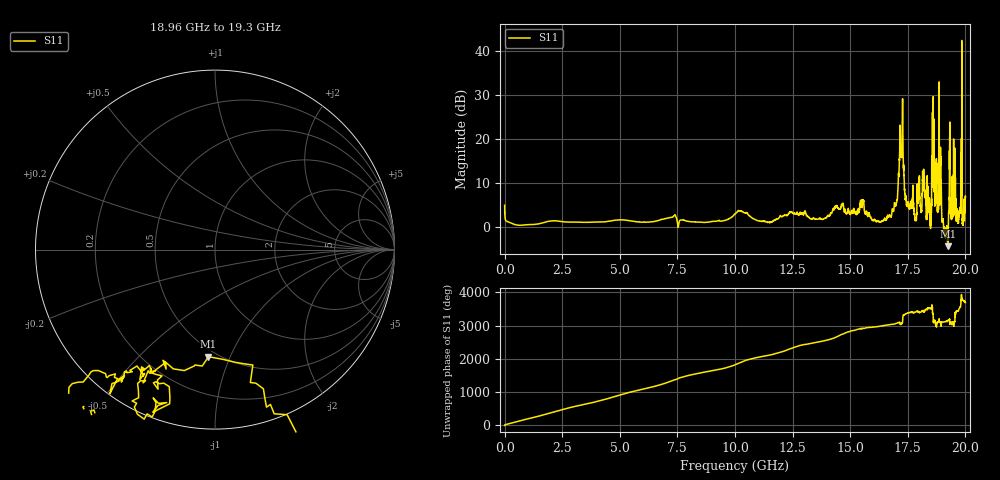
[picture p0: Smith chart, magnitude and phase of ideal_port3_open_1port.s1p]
! Created with skrf 1.8.0 (http://scikit-rf.org).
# GHz S RI R 50.0
!freq ReS11 ImS11
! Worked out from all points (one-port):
!   10001 points, 1 MHz to 20 GHz, reference 50 ohm
!   lowest |S11| = -4.5 dB at 19.24 GHz (marker M1), VSWR 3.97, Z = 22.5 - j41.7 ohm
!   |S11| at or under -10 dB: nowhere
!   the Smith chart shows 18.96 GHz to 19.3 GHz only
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0.001  1.704 -0.384
0.8969552  -1.023 0.2131
1.940903  1.147 -0.1024
2.500875  -0.3083 1.096
4.104795  1.123 0.1081
5.00075  -1.184 -0.1465
5.900705  1.093 -0.2576
6.556672  -0.1234 1.147
7.500625  0.6761 -0.897
8.134593  0.1803 1.116
8.918554  -1.12 -0.1565
10.0005  1.348 0.3628
10.52647  -1.375 0.4135
11.82841  1.205 0.1434
12.50038  -1.386 0.3578
13.07435  0.0545 -1.419
14.28629  -0.3237 1.513
15.00025  0.8311 -1.1
15.76821  0.6003 1.155
16.96215  -1.728 0.0376
17.17214  -12.03 3.729
17.37413  -0.2909 2.289
17.50013  -1.439 1.199
18.16609  -3.559 -1.324
18.34208  -2.257 -3.053
19.23804  -0.0363 -0.5965
19.906  -1.074 0.2557
20  -0.2014 2.152
